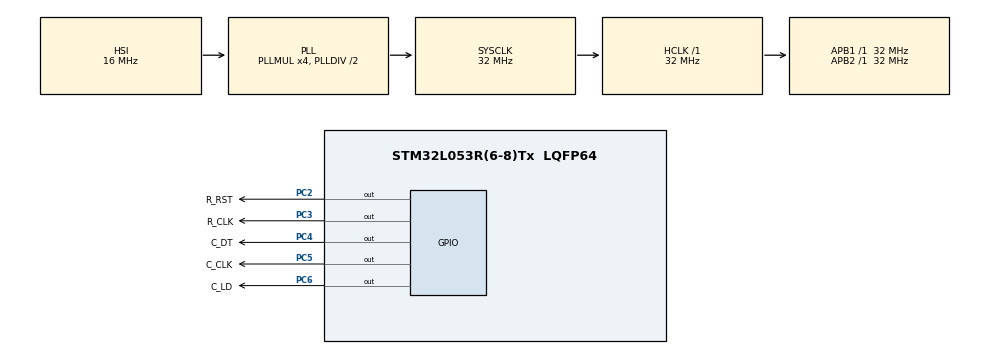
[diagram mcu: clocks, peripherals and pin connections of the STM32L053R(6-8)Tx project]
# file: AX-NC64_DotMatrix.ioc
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Mcu.Family=STM32L0
Mcu.Name=STM32L053R(6-8)Tx
Mcu.Package=LQFP64
NVIC.TIM2_IRQn=true\:0\:0\:false\:false\:true\:true\:true
PC2.GPIO_Label=R_RST
PC2.Signal=GPIO_Output
PC3.GPIO_Label=R_CLK
PC3.Signal=GPIO_Output
PC4.GPIO_Label=C_DT
PC4.Signal=GPIO_Output
PC5.GPIO_Label=C_CLK
PC5.Signal=GPIO_Output
PC6.GPIO_Label=C_LD
PC6.Signal=GPIO_Output
ProjectManager.HeapSize=0x200
ProjectManager.StackSize=0x400
ProjectManager.TargetToolchain=MDK-ARM V5
RCC.AHBFreq_Value=32000000
RCC.APB1Freq_Value=32000000
RCC.APB1TimFreq_Value=32000000
RCC.APB2Freq_Value=32000000
RCC.APB2TimFreq_Value=32000000
RCC.HCLKFreq_Value=32000000
RCC.HSE_VALUE=8000000
RCC.HSI16_VALUE=16000000
RCC.HSI48_VALUE=48000000
RCC.HSI_VALUE=16000000
RCC.LSE_VALUE=32768
RCC.MSI_VALUE=2097000
RCC.PLLMUL=RCC_PLLMUL_4
RCC.SYSCLKFreq_VALUE=32000000
RCC.SYSCLKSource=RCC_SYSCLKSOURCE_PLLCLK
RCC.VCOOutputFreq_Value=64000000
TIM2.Channel-Output\ Compare1\ No\ Output=TIM_CHANNEL_1
TIM2.Period=1000
TIM2.Prescaler=32
VP_TIM2_VS_no_output1.Mode=Output Compare1 No Output
board=custom

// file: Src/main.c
/* USER CODE BEGIN Header */
/**
  ******************************************************************************
  * @file           : main.c
  * @brief          : Main program body
  ******************************************************************************
  * @attention
  *
  * <h2><center>&copy; Copyright (c) 2019 STMicroelectronics.
  * All rights reserved.</center></h2>
  *
  * This software component is licensed by ST under BSD 3-Clause license,
  * the "License"; You may not use this file except in compliance with the
  * License. You may obtain a copy of the License at:
  *                        opensource.org/licenses/BSD-3-Clause
  *
  ******************************************************************************
  */
/* USER CODE END Header */

#include "main.h"

/* USER CODE BEGIN Includes */
#include <stdio.h>
#include <string.h>
/* USER CODE END Includes */

/* USER CODE BEGIN PM */
// Internal Macros
#define HEX__(n) 0x##n##LU
#define B8__(x) ((x&0x0000000FLU)?1:0) \
+((x&0x000000F0LU)?2:0) \
+((x&0x00000F00LU)?4:0) \
+((x&0x0000F000LU)?8:0) \
+((x&0x000F0000LU)?16:0) \
+((x&0x00F00000LU)?32:0) \
+((x&0x0F000000LU)?64:0) \
+((x&0xF0000000LU)?128:0)

// User-visible Macros
#define B8(d) ((unsigned char)B8__(HEX__(d)))
#define B16(dmsb,dlsb) (((unsigned short)B8(dmsb)<<8) + B8(dlsb))
#define B32(dmsb,db2,db3,dlsb) \
(((unsigned long)B8(dmsb)<<24) \
+ ((unsigned long)B8(db2)<<16) \
+ ((unsigned long)B8(db3)<<8) \
+ B8(dlsb))
/* USER CODE END PM */

TIM_HandleTypeDef htim2;

void SystemClock_Config(void);
static void MX_GPIO_Init(void);
static void MX_TIM2_Init(void);
/* USER CODE BEGIN PFP */
uint8_t font_6_8[] = {
	0x00, 0x00, 0x00, 0x00, 0x00, 0x00,  // 0x00
	0x00, 0x7c, 0xa2, 0x8a, 0xa2, 0x7c,  // 0x01
	0x00, 0x7c, 0xd6, 0xf6, 0xd6, 0x7c,  // 0x02
	0x00, 0x38, 0x7c, 0x3e, 0x7c, 0x38,  // 0x03
	0x00, 0x18, 0x3c, 0x7e, 0x3c, 0x18,  // 0x04
	0x00, 0x0c, 0x6c, 0xfe, 0x6c, 0x0c,  // 0x05
	0x00, 0x18, 0x3a, 0x7e, 0x3a, 0x18,  // 0x06
	0x00, 0x00, 0x00, 0x00, 0x00, 0x00,  // 0x07
	0x00, 0x00, 0x00, 0x00, 0x00, 0x00,  // 0x08
	0x00, 0x00, 0x00, 0x00, 0x00, 0x00,  // 0x09
	0x00, 0x00, 0x00, 0x00, 0x00, 0x00,  // 0x0a
	0x00, 0x0c, 0x12, 0x52, 0x6c, 0x70,  // 0x0b
	0x00, 0x60, 0x94, 0x9e, 0x94, 0x60,  // 0x0c
	0x00, 0x00, 0x00, 0x00, 0x00, 0x00,  // 0x0d
	0x00, 0x06, 0x7e, 0x50, 0xac, 0xfc,  // 0x0e
	0x00, 0x54, 0x38, 0x6c, 0x38, 0x54,  // 0x0f
	0x00, 0x00, 0xfe, 0x7c, 0x38, 0x10,  // 0x10
	0x00, 0x10, 0x38, 0x7c, 0xfe, 0x00,  // 0x11
	0x00, 0x28, 0x6c, 0xfe, 0x6c, 0x28,  // 0x12
	0x00, 0x00, 0xfa, 0x00, 0xfa, 0x00,  // 0x13
	0x00, 0x60, 0x90, 0xfe, 0x80, 0xfe,  // 0x14
	0x00, 0x44, 0xb2, 0xaa, 0x9a, 0x44,  // 0x15
	0x00, 0x06, 0x06, 0x06, 0x06, 0x00,  // 0x16
	0x00, 0x28, 0x6d, 0xff, 0x6d, 0x28,  // 0x17
	0x00, 0x20, 0x60, 0xfe, 0x60, 0x20,  // 0x18
	0x00, 0x08, 0x0c, 0xfe, 0x0c, 0x08,  // 0x19
	0x00, 0x10, 0x10, 0x7c, 0x38, 0x10,  // 0x1a
	0x00, 0x10, 0x38, 0x7c, 0x10, 0x10,  // 0x1b
	0x00, 0x1e, 0x02, 0x02, 0x02, 0x02,  // 0x1c
	0x00, 0x10, 0x7c, 0x10, 0x7c, 0x10,  // 0x1d
	0x00, 0x0c, 0x3c, 0xfc, 0x3c, 0x0c,  // 0x1e
	0x00, 0xc0, 0xf0, 0xfc, 0xf0, 0xc0,  // 0x1f
	0x00, 0x00, 0x00, 0x00, 0x00, 0x00,  // 0x20
	0x00, 0x00, 0x60, 0xfa, 0x60, 0x00,  // 0x21
	0x00, 0xe0, 0xc0, 0x00, 0xe0, 0xc0,  // 0x22
	0x00, 0x24, 0x7e, 0x24, 0x7e, 0x24,  // 0x23
	0x00, 0x24, 0xd4, 0x56, 0x48, 0x00,  // 0x24
	0x00, 0xc6, 0xc8, 0x10, 0x26, 0xc6,  // 0x25
	0x00, 0x6c, 0x92, 0x6a, 0x04, 0x0a,  // 0x26
	0x00, 0x00, 0xe0, 0xc0, 0x00, 0x00,  // 0x27
	0x00, 0x00, 0x7c, 0x82, 0x00, 0x00,  // 0x28
	0x00, 0x00, 0x82, 0x7c, 0x00, 0x00,  // 0x29
	0x00, 0x10, 0x7c, 0x38, 0x7c, 0x10,  // 0x2a
	0x00, 0x10, 0x10, 0x7c, 0x10, 0x10,  // 0x2b
	0x00, 0x00, 0x07, 0x06, 0x00, 0x00,  // 0x2c
	0x00, 0x10, 0x10, 0x10, 0x10, 0x10,  // 0x2d
	0x00, 0x00, 0x06, 0x06, 0x00, 0x00,  // 0x2e
	0x00, 0x04, 0x08, 0x10, 0x20, 0x40,  // 0x2f
	0x00, 0x7c, 0x8a, 0x92, 0xa2, 0x7c,  // 0x30
	0x00, 0x00, 0x42, 0xfe, 0x02, 0x00,  // 0x31
	0x00, 0x46, 0x8a, 0x92, 0x92, 0x62,  // 0x32
	0x00, 0x44, 0x92, 0x92, 0x92, 0x6c,  // 0x33
	0x00, 0x18, 0x28, 0x48, 0xfe, 0x08,  // 0x34
	0x00, 0xf4, 0x92, 0x92, 0x92, 0x8c,  // 0x35
	0x00, 0x3c, 0x52, 0x92, 0x92, 0x0c,  // 0x36
	0x00, 0x80, 0x8e, 0x90, 0xa0, 0xc0,  // 0x37
	0x00, 0x6c, 0x92, 0x92, 0x92, 0x6c,  // 0x38
	0x00, 0x60, 0x92, 0x92, 0x94, 0x78,  // 0x39
	0x00, 0x00, 0x36, 0x36, 0x00, 0x00,  // 0x3a
	0x00, 0x00, 0x37, 0x36, 0x00, 0x00,  // 0x3b
	0x00, 0x10, 0x28, 0x44, 0x82, 0x00,  // 0x3c
	0x00, 0x24, 0x24, 0x24, 0x24, 0x24,  // 0x3d
	0x00, 0x00, 0x82, 0x44, 0x28, 0x10,  // 0x3e
	0x00, 0x40, 0x80, 0x9a, 0x90, 0x60,  // 0x3f
	0x00, 0x7c, 0x82, 0xba, 0xaa, 0x78,  // 0x40
	0x00, 0x7e, 0x88, 0x88, 0x88, 0x7e,  // 0x41
	0x00, 0xfe, 0x92, 0x92, 0x92, 0x6c,  // 0x42
	0x00, 0x7c, 0x82, 0x82, 0x82, 0x44,  // 0x43
	0x00, 0xfe, 0x82, 0x82, 0x82, 0x7c,  // 0x44
	0x00, 0xfe, 0x92, 0x92, 0x92, 0x82,  // 0x45
	0x00, 0xfe, 0x90, 0x90, 0x90, 0x80,  // 0x46
	0x00, 0x7c, 0x82, 0x92, 0x92, 0x5e,  // 0x47
	0x00, 0xfe, 0x10, 0x10, 0x10, 0xfe,  // 0x48
	0x00, 0x00, 0x82, 0xfe, 0x82, 0x00,  // 0x49
	0x00, 0x0c, 0x02, 0x02, 0x02, 0xfc,  // 0x4a
	0x00, 0xfe, 0x10, 0x28, 0x44, 0x82,  // 0x4b
	0x00, 0xfe, 0x02, 0x02, 0x02, 0x02,  // 0x4c
	0x00, 0xfe, 0x40, 0x20, 0x40, 0xfe,  // 0x4d
	0x00, 0xfe, 0x40, 0x20, 0x10, 0xfe,  // 0x4e
	0x00, 0x7c, 0x82, 0x82, 0x82, 0x7c,  // 0x4f
	0x00, 0xfe, 0x90, 0x90, 0x90, 0x60,  // 0x50
	0x00, 0x7c, 0x82, 0x8a, 0x84, 0x7a,  // 0x51
	0x00, 0xfe, 0x90, 0x90, 0x98, 0x66,  // 0x52
	0x00, 0x64, 0x92, 0x92, 0x92, 0x4c,  // 0x53
	0x00, 0x80, 0x80, 0xfe, 0x80, 0x80,  // 0x54
	0x00, 0xfc, 0x02, 0x02, 0x02, 0xfc,  // 0x55
	0x00, 0xf8, 0x04, 0x02, 0x04, 0xf8,  // 0x56
	0x00, 0xfc, 0x02, 0x3c, 0x02, 0xfc,  // 0x57
	0x00, 0xc6, 0x28, 0x10, 0x28, 0xc6,  // 0x58
	0x00, 0xe0, 0x10, 0x0e, 0x10, 0xe0,  // 0x59
	0x00, 0x8e, 0x92, 0xa2, 0xc2, 0x00,  // 0x5a
	0x00, 0x00, 0xfe, 0x82, 0x82, 0x00,  // 0x5b
	0x00, 0x40, 0x20, 0x10, 0x08, 0x04,  // 0x5c
	0x00, 0x00, 0x82, 0x82, 0xfe, 0x00,  // 0x5d
	0x00, 0x20, 0x40, 0x80, 0x40, 0x20,  // 0x5e
	0x01, 0x01, 0x01, 0x01, 0x01, 0x01,  // 0x5f
	0x00, 0x00, 0xc0, 0xe0, 0x00, 0x00,  // 0x60
	0x00, 0x04, 0x2a, 0x2a, 0x2a, 0x1e,  // 0x61
	0x00, 0xfe, 0x22, 0x22, 0x22, 0x1c,  // 0x62
	0x00, 0x1c, 0x22, 0x22, 0x22, 0x04,  // 0x63 'c' = 0x00, 0x1c, 0x22, 0x22, 0x22, 0x14
	0x00, 0x1c, 0x22, 0x22, 0x22, 0xfe,  // 0x64
	0x00, 0x1c, 0x2a, 0x2a, 0x2a, 0x10,  // 0x65
	0x00, 0x10, 0x7e, 0x90, 0x90, 0x00,  // 0x66
	0x00, 0x18, 0x25, 0x25, 0x25, 0x3e,  // 0x67
	0x00, 0xfe, 0x20, 0x20, 0x1e, 0x00,  // 0x68
	0x00, 0x00, 0x00, 0x5e, 0x02, 0x00,  // 0x69 'i' = 0x00, 0x00, 0x00, 0xbe, 0x02, 0x00
	0x00, 0x02, 0x01, 0x21, 0xbe, 0x00,  // 0x6a
	0x00, 0xfe, 0x08, 0x14, 0x22, 0x00,  // 0x6b
	0x00, 0x00, 0x00, 0xfe, 0x02, 0x00,  // 0x6c
	0x00, 0x3e, 0x20, 0x18, 0x20, 0x1e,  // 0x6d
	0x00, 0x3e, 0x20, 0x20, 0x1e, 0x00,  // 0x6e
	0x00, 0x1c, 0x22, 0x22, 0x22, 0x1c,  // 0x6f
	0x00, 0x3f, 0x22, 0x22, 0x22, 0x1c,  // 0x70
	0x00, 0x1c, 0x22, 0x22, 0x22, 0x3f,  // 0x71
	0x00, 0x22, 0x1e, 0x22, 0x20, 0x10,  // 0x72
	0x00, 0x10, 0x2a, 0x2a, 0x2a, 0x04,  // 0x73
	0x00, 0x20, 0x7c, 0x22, 0x24, 0x00,  // 0x74
	0x00, 0x3c, 0x02, 0x04, 0x3e, 0x00,  // 0x75
	0x00, 0x38, 0x04, 0x02, 0x04, 0x38,  // 0x76
	0x00, 0x3c, 0x06, 0x0c, 0x06, 0x3c,  // 0x77
	0x00, 0x36, 0x08, 0x08, 0x36, 0x00,  // 0x78
	0x00, 0x39, 0x05, 0x06, 0x3c, 0x00,  // 0x79
	0x00, 0x26, 0x2a, 0x2a, 0x32, 0x00,  // 0x7a
	0x00, 0x10, 0x7c, 0x82, 0x82, 0x00,  // 0x7b
	0x00, 0x00, 0x00, 0xee, 0x00, 0x00,  // 0x7c
	0x00, 0x00, 0x82, 0x82, 0x7c, 0x10,  // 0x7d
	0x00, 0x40, 0x80, 0x40, 0x80, 0x00,  // 0x7e
	0x00, 0x3c, 0x64, 0xc4, 0x64, 0x3c,  // 0x7f
	0x00, 0x78, 0x85, 0x87, 0x84, 0x48,  // 0x80
	0x00, 0xbc, 0x02, 0x04, 0xbe, 0x00,  // 0x81
	0x00, 0x1c, 0x2a, 0x2a, 0xaa, 0x90,  // 0x82
	0x00, 0x04, 0xaa, 0xaa, 0xaa, 0x1e,  // 0x83
	0x00, 0x04, 0xaa, 0x2a, 0xaa, 0x1e,  // 0x84
	0x00, 0x04, 0xaa, 0xaa, 0x2a, 0x1e,  // 0x85
	0x00, 0x04, 0xea, 0xaa, 0xea, 0x1e,  // 0x86
	0x00, 0x38, 0x45, 0x47, 0x44, 0x28,  // 0x87
	0x00, 0x1c, 0xaa, 0xaa, 0xaa, 0x10,  // 0x88
	0x00, 0x1c, 0xaa, 0x2a, 0xaa, 0x10,  // 0x89
	0x00, 0x1c, 0xaa, 0xaa, 0x2a, 0x10,  // 0x8a
	0x00, 0x00, 0x80, 0x3e, 0x82, 0x00,  // 0x8b
	0x00, 0x00, 0x80, 0xbe, 0x82, 0x00,  // 0x8c
	0x00, 0x00, 0x80, 0x3e, 0x02, 0x00,  // 0x8d
	0x00, 0x0e, 0x94, 0x24, 0x94, 0x0e,  // 0x8e
	0x00, 0x1e, 0xf4, 0xa4, 0xf4, 0x1e,  // 0x8f
	0x00, 0x3e, 0x2a, 0x2a, 0xaa, 0xa2,  // 0x90
	0x00, 0x2c, 0x2a, 0x3e, 0x2a, 0x1a,  // 0x91
	0x00, 0x7e, 0x90, 0xfe, 0x92, 0x92,  // 0x92
	0x00, 0x1c, 0xa2, 0xa2, 0x9c, 0x00,  // 0x93
	0x00, 0x1c, 0xa2, 0x22, 0x9c, 0x00,  // 0x94
	0x00, 0x9c, 0xa2, 0x22, 0x1c, 0x00,  // 0x95
	0x00, 0x3c, 0x82, 0x84, 0xbe, 0x00,  // 0x96
	0x00, 0xbc, 0x82, 0x04, 0x3e, 0x00,  // 0x97
	0x00, 0x39, 0x85, 0x06, 0xbc, 0x00,  // 0x98
	0x00, 0xbc, 0x42, 0x42, 0xbc, 0x00,  // 0x99
	0x00, 0x3c, 0x82, 0x02, 0xbc, 0x00,  // 0x9a
	0x01, 0x0e, 0x16, 0x1a, 0x1c, 0x20,  // 0x9b
	0x00, 0x12, 0x7c, 0x92, 0x92, 0x46,  // 0x9c
	0x00, 0x7e, 0x86, 0xba, 0xc2, 0xfc,  // 0x9d
	0x00, 0x44, 0x28, 0x10, 0x28, 0x44,  // 0x9e
	0x00, 0x02, 0x11, 0x7e, 0x90, 0x40,  // 0x9f
	0x00, 0x04, 0x2a, 0xaa, 0xaa, 0x1e,  // 0xa0
	0x00, 0x00, 0x00, 0xbe, 0x82, 0x00,  // 0xa1
	0x00, 0x1c, 0x22, 0xa2, 0x9c, 0x00,  // 0xa2
	0x00, 0x3c, 0x02, 0x84, 0xbe, 0x00,  // 0xa3
	0x00, 0x5e, 0x90, 0x50, 0x8e, 0x00,  // 0xa4
	0x00, 0x5e, 0x88, 0x44, 0x9e, 0x00,  // 0xa5
	0x00, 0x10, 0xaa, 0xaa, 0xaa, 0x7a,  // 0xa6
	0x00, 0x72, 0x8a, 0x8a, 0x72, 0x00,  // 0xa7
	0x00, 0x0c, 0x12, 0xb2, 0x02, 0x04,  // 0xa8
	0x7c, 0x82, 0xba, 0xd2, 0xaa, 0x7c,  // 0xa9
	0x20, 0x20, 0x20, 0x20, 0x20, 0x38,  // 0xaa
	0x00, 0xe8, 0x10, 0x32, 0x56, 0x0a,  // 0xab
	0x00, 0xe8, 0x10, 0x2c, 0x54, 0x1e,  // 0xac
	0x00, 0x00, 0x0c, 0xbe, 0x0c, 0x00,  // 0xad
	0x00, 0x10, 0x28, 0x00, 0x10, 0x28,  // 0xae
	0x00, 0x28, 0x10, 0x00, 0x28, 0x10,  // 0xaf
	0x22, 0x88, 0x22, 0x88, 0x22, 0x88,  // 0xb0
	0x55, 0xaa, 0x55, 0xaa, 0x55, 0xaa,  // 0xb1
	0xdd, 0x77, 0xdd, 0x77, 0xdd, 0x77,  // 0xb2
	0x00, 0x00, 0x00, 0xff, 0x00, 0x00,  // 0xb3
	0x10, 0x10, 0x10, 0xff, 0x00, 0x00,  // 0xb4
	0x00, 0x0e, 0x14, 0xa4, 0x94, 0x0e,  // 0xb5
	0x00, 0x0e, 0x94, 0xa4, 0x94, 0x0e,  // 0xb6
	0x00, 0x0e, 0x94, 0xa4, 0x14, 0x0e,  // 0xb7
	0x7c, 0x82, 0xba, 0xaa, 0x82, 0x7c,  // 0xb8
	0x50, 0xdf, 0x00, 0xff, 0x00, 0x00,  // 0xb9
	0x00, 0xff, 0x00, 0xff, 0x00, 0x00,  // 0xba
	0x50, 0x5f, 0x40, 0x7f, 0x00, 0x00,  // 0xbb
	0x50, 0xd0, 0x10, 0xf0, 0x00, 0x00,  // 0xbc
	0x00, 0x18, 0x24, 0x66, 0x24, 0x00,  // 0xbd
	0x00, 0x94, 0x54, 0x3e, 0x54, 0x94,  // 0xbe
	0x10, 0x10, 0x10, 0x1f, 0x00, 0x00,  // 0xbf
	0x00, 0x00, 0x00, 0xf0, 0x10, 0x10,  // 0xc0
	0x10, 0x10, 0x10, 0xf0, 0x10, 0x10,  // 0xc1
	0x10, 0x10, 0x10, 0x1f, 0x10, 0x10,  // 0xc2
	0x00, 0x00, 0x00, 0xff, 0x10, 0x10,  // 0xc3
	0x10, 0x10, 0x10, 0x10, 0x10, 0x10,  // 0xc4
	0x10, 0x10, 0x10, 0xff, 0x10, 0x10,  // 0xc5
	0x00, 0x04, 0x6a, 0xaa, 0x6a, 0x9e,  // 0xc6
	0x00, 0x0e, 0x54, 0xa4, 0x54, 0x8e,  // 0xc7
	0x00, 0xf0, 0x10, 0xd0, 0x50, 0x50,  // 0xc8
	0x00, 0x7f, 0x40, 0x5f, 0x50, 0x50,  // 0xc9
	0x50, 0xd0, 0x10, 0xd0, 0x50, 0x50,  // 0xca
	0x50, 0x5f, 0x40, 0x5f, 0x50, 0x50,  // 0xcb
	0x00, 0xff, 0x00, 0xdf, 0x50, 0x50,  // 0xcc
	0x50, 0x50, 0x50, 0x50, 0x50, 0x50,  // 0xcd
	0x50, 0xdf, 0x00, 0xdf, 0x50, 0x50,  // 0xce
	0x00, 0xba, 0x44, 0x44, 0x44, 0xba,  // 0xcf
	0x00, 0x44, 0xaa, 0x9a, 0x0c, 0x00,  // 0xd0
	0x00, 0x10, 0xfe, 0x92, 0x82, 0x7c,  // 0xd1
	0x00, 0x3e, 0xaa, 0xaa, 0xaa, 0x22,  // 0xd2
	0x00, 0x3e, 0xaa, 0x2a, 0xaa, 0x22,  // 0xd3
	0x00, 0x3e, 0xaa, 0xaa, 0x2a, 0x22,  // 0xd4
	0x00, 0x00, 0x00, 0xe0, 0x00, 0x00,  // 0xd5
	0x00, 0x00, 0x22, 0xbe, 0xa2, 0x00,  // 0xd6
	0x00, 0x00, 0xa2, 0xbe, 0xa2, 0x00,  // 0xd7
	0x00, 0x00, 0xa2, 0x3e, 0xa2, 0x00,  // 0xd8
	0x10, 0x10, 0x10, 0xf0, 0x00, 0x00,  // 0xd9
	0x00, 0x00, 0x00, 0x1f, 0x10, 0x10,  // 0xda
	0xff, 0xff, 0xff, 0xff, 0xff, 0xff,  // 0xdb
	0x0f, 0x0f, 0x0f, 0x0f, 0x0f, 0x0f,  // 0xdc
	0x00, 0x00, 0x00, 0xee, 0x00, 0x00,  // 0xdd
	0x00, 0x00, 0xa2, 0xbe, 0x22, 0x00,  // 0xde
	0xf0, 0xf0, 0xf0, 0xf0, 0xf0, 0xf0,  // 0xdf
	0x00, 0x3c, 0x42, 0xc2, 0xbc, 0x00,  // 0xe0
	0x00, 0x7f, 0x52, 0x52, 0x2c, 0x00,  // 0xe1
	0x00, 0x3c, 0xc2, 0xc2, 0xbc, 0x00,  // 0xe2
	0x00, 0xbc, 0xc2, 0x42, 0x3c, 0x00,  // 0xe3
	0x00, 0x4c, 0x92, 0x52, 0x8c, 0x00,  // 0xe4
	0x00, 0x5c, 0xa2, 0x62, 0x9c, 0x00,  // 0xe5
	0x00, 0x3f, 0x04, 0x04, 0x38, 0x00,  // 0xe6
	0x00, 0x7f, 0x55, 0x14, 0x08, 0x00,  // 0xe7
	0x00, 0xff, 0xa5, 0x24, 0x18, 0x00,  // 0xe8
	0x00, 0x3c, 0x02, 0x82, 0xbc, 0x00,  // 0xe9
	0x00, 0x3c, 0x82, 0x82, 0xbc, 0x00,  // 0xea
	0x00, 0xbc, 0x82, 0x02, 0x3c, 0x00,  // 0xeb
	0x00, 0x39, 0x05, 0x86, 0xbc, 0x00,  // 0xec
	0x00, 0x20, 0x10, 0x8e, 0x90, 0x20,  // 0xed
	0x00, 0x00, 0x40, 0x40, 0x40, 0x00,  // 0xee
	0x00, 0x00, 0xe0, 0xc0, 0x00, 0x00,  // 0xef
	0x00, 0x00, 0x10, 0x10, 0x10, 0x00,  // 0xf0
	0x00, 0x00, 0x24, 0x74, 0x24, 0x00,  // 0xf1
	0x00, 0x24, 0x24, 0x24, 0x24, 0x24,  // 0xf2
	0xa0, 0xe8, 0x50, 0x2c, 0x54, 0x1e,  // 0xf3
	0x00, 0x60, 0x90, 0xfe, 0x80, 0xfe,  // 0xf4
	0x00, 0x44, 0xb2, 0xaa, 0x9a, 0x44,  // 0xf5
	0x00, 0x10, 0x10, 0x54, 0x10, 0x10,  // 0xf6
	0x00, 0x00, 0x10, 0x18, 0x18, 0x00,  // 0xf7
	0x00, 0x60, 0x90, 0x90, 0x60, 0x00,  // 0xf8
	0x00, 0x00, 0x10, 0x00, 0x10, 0x00,  // 0xf9
	0x00, 0x00, 0x10, 0x00, 0x00, 0x00,  // 0xfa
	0x00, 0x40, 0xf0, 0x00, 0x00, 0x00,  // 0xfb
	0x00, 0x90, 0xf0, 0xa0, 0x00, 0x00,  // 0xfc
	0x00, 0x90, 0xb0, 0x50, 0x00, 0x00,  // 0xfd
	0x00, 0x3c, 0x3c, 0x3c, 0x3c, 0x00,  // 0xfe
	0x00, 0x00, 0x00, 0x00, 0x00, 0x00  // 0xff
};

uint8_t font_A[] = {
	0x3c, 0x42, 0x42, 0x42, 0x7e, 0x42, 0x42, 0x00
};

/* USER CODE END PFP */

/* USER CODE BEGIN 0 */
void shiftOut(uint8_t data) {
	HAL_GPIO_WritePin(C_LD_GPIO_Port, C_LD_Pin, 0); // Set CS to LOW
  for (int ibit=7;ibit>=0;ibit--) {
    HAL_GPIO_WritePin(C_DT_GPIO_Port, C_DT_Pin, (data>>ibit)&0x01);

		HAL_GPIO_WritePin(C_CLK_GPIO_Port, C_CLK_Pin, 1);
		HAL_GPIO_WritePin(C_CLK_GPIO_Port, C_CLK_Pin, 0);
  }
  HAL_GPIO_WritePin(C_LD_GPIO_Port, C_LD_Pin, 1); // Set CS to HIGH
}

void resetCounter() {
	HAL_GPIO_WritePin(R_RST_GPIO_Port, R_RST_Pin, 1);
	HAL_GPIO_WritePin(R_RST_GPIO_Port, R_RST_Pin, 0);
}

void tickClock() {
	HAL_GPIO_WritePin(R_CLK_GPIO_Port, R_CLK_Pin, 1);
	HAL_GPIO_WritePin(R_CLK_GPIO_Port, R_CLK_Pin, 0);
}

void scan_dotmatrix(uint8_t *data) {
  for (int i=0;i<8;i++) {
    shiftOut(~data[i]);
    tickClock();
    HAL_Delay(1);
  }
  resetCounter();
}

uint8_t scan_bit = 0;
void scan_dotmatrix2(uint8_t *data) {
  if (scan_bit == 0) {
    resetCounter();
  }
  shiftOut(~data[scan_bit]);
  tickClock();
  scan_bit = scan_bit < 8 ? scan_bit + 1 : 0;
}

void rotate(uint8_t *oldBuff, uint8_t *newBuff) {
  memset(newBuff, 0, 8);
  for(uint8_t a=0;a<8;a++) {
    for(uint8_t i=0;i<8;i++) {
      newBuff[a] |= (oldBuff[i]&(0x80>>a)) ? (1<<i) : 0;
    }
  }
}

uint8_t frame_buffer[8] = { 0, 0, 0, 0, 0, 0, 0, 0 };
void rotateToBuffer(uint8_t *c) {
  uint8_t newBuff[8];
  rotate(c, newBuff);
  memcpy(frame_buffer, newBuff, 8);
}

uint8_t buffText[(30 * 6) + (8 * 2)]; // Max 30 chars, 2 space for start and end
void showText(char *text) {
  uint8_t inx = 8;
  for(uint8_t cInx=0;cInx<strlen(text);cInx++) {
    for(uint8_t i=0;i<6;i++) {
      buffText[inx++] = font_6_8[(text[cInx] * 6) + i];
    }
  }

  for(uint8_t start=0;start<((strlen(text) * 6) + (8));start++) {
    uint8_t buff[8];
    memcpy(buff, &buffText[start], 8);
    rotateToBuffer(buff);
    HAL_Delay(100);
  }
}

void showChar(char c) {
  uint8_t buff[8];
  memset(buff, 0, 8);
  memcpy(&buff[2], &font_6_8[c * 6], 6);
  rotateToBuffer(buff);
}

void HAL_TIM_PeriodElapsedCallback(TIM_HandleTypeDef *htim) {
  scan_dotmatrix2(frame_buffer);
}

/* USER CODE END 0 */

int main(void)
{

  /* MCU Configuration--------------------------------------------------------*/

  /* Reset of all peripherals, Initializes the Flash interface and the Systick. */
  HAL_Init();

  /* Configure the system clock */
  SystemClock_Config();

  /* Initialize all configured peripherals */
  MX_GPIO_Init();
  MX_TIM2_Init();
  /* USER CODE BEGIN 2 */

	// Setup 74HC595
	HAL_GPIO_WritePin(C_LD_GPIO_Port, C_LD_Pin, 1); // Set CS to HIGH
	HAL_GPIO_WritePin(C_DT_GPIO_Port, C_DT_Pin, 0);
	HAL_GPIO_WritePin(C_CLK_GPIO_Port, C_CLK_Pin, 0);

	// Setup 4017
	HAL_GPIO_WritePin(R_RST_GPIO_Port, R_RST_Pin, 0);
	HAL_GPIO_WritePin(R_CLK_GPIO_Port, R_CLK_Pin, 0);

	resetCounter();
	shiftOut(0xFF); // trun off all

  HAL_TIM_Base_Start_IT(&htim2);

  /* USER CODE END 2 */

  /* Infinite loop */
  /* USER CODE BEGIN WHILE */
  while (1)
  {
    showText("E-TECH");
    /* USER CODE END WHILE */

  }
}

void SystemClock_Config(void)
{
  RCC_OscInitTypeDef RCC_OscInitStruct = {0};
  RCC_ClkInitTypeDef RCC_ClkInitStruct = {0};

  /** Configure the main internal regulator output voltage
  */
  __HAL_PWR_VOLTAGESCALING_CONFIG(PWR_REGULATOR_VOLTAGE_SCALE1);
  /** Initializes the CPU, AHB and APB busses clocks
  */
  RCC_OscInitStruct.OscillatorType = RCC_OSCILLATORTYPE_HSI;
  RCC_OscInitStruct.HSIState = RCC_HSI_ON;
  RCC_OscInitStruct.HSICalibrationValue = RCC_HSICALIBRATION_DEFAULT;
  RCC_OscInitStruct.PLL.PLLState = RCC_PLL_ON;
  RCC_OscInitStruct.PLL.PLLSource = RCC_PLLSOURCE_HSI;
  RCC_OscInitStruct.PLL.PLLMUL = RCC_PLLMUL_4;
  RCC_OscInitStruct.PLL.PLLDIV = RCC_PLLDIV_2;
  if (HAL_RCC_OscConfig(&RCC_OscInitStruct) != HAL_OK)
  {
    Error_Handler();
  }
  /** Initializes the CPU, AHB and APB busses clocks
  */
  RCC_ClkInitStruct.ClockType = RCC_CLOCKTYPE_HCLK|RCC_CLOCKTYPE_SYSCLK
                              |RCC_CLOCKTYPE_PCLK1|RCC_CLOCKTYPE_PCLK2;
  RCC_ClkInitStruct.SYSCLKSource = RCC_SYSCLKSOURCE_PLLCLK;
  RCC_ClkInitStruct.AHBCLKDivider = RCC_SYSCLK_DIV1;
  RCC_ClkInitStruct.APB1CLKDivider = RCC_HCLK_DIV1;
  RCC_ClkInitStruct.APB2CLKDivider = RCC_HCLK_DIV1;

  if (HAL_RCC_ClockConfig(&RCC_ClkInitStruct, FLASH_LATENCY_1) != HAL_OK)
  {
    Error_Handler();
  }
}

static void MX_TIM2_Init(void)
{

  TIM_MasterConfigTypeDef sMasterConfig = {0};
  TIM_OC_InitTypeDef sConfigOC = {0};

  htim2.Instance = TIM2;
  htim2.Init.Prescaler = 32;
  htim2.Init.CounterMode = TIM_COUNTERMODE_UP;
  htim2.Init.Period = 1000;
  htim2.Init.ClockDivision = TIM_CLOCKDIVISION_DIV1;
  htim2.Init.AutoReloadPreload = TIM_AUTORELOAD_PRELOAD_DISABLE;
  if (HAL_TIM_OC_Init(&htim2) != HAL_OK)
  {
    Error_Handler();
  }
  sMasterConfig.MasterOutputTrigger = TIM_TRGO_RESET;
  sMasterConfig.MasterSlaveMode = TIM_MASTERSLAVEMODE_DISABLE;
  if (HAL_TIMEx_MasterConfigSynchronization(&htim2, &sMasterConfig) != HAL_OK)
  {
    Error_Handler();
  }
  sConfigOC.OCMode = TIM_OCMODE_TIMING;
  sConfigOC.Pulse = 0;
  sConfigOC.OCPolarity = TIM_OCPOLARITY_HIGH;
  sConfigOC.OCFastMode = TIM_OCFAST_DISABLE;
  if (HAL_TIM_OC_ConfigChannel(&htim2, &sConfigOC, TIM_CHANNEL_1) != HAL_OK)
  {
    Error_Handler();
  }

}

static void MX_GPIO_Init(void)
{
  GPIO_InitTypeDef GPIO_InitStruct = {0};

  /* GPIO Ports Clock Enable */
  __HAL_RCC_GPIOC_CLK_ENABLE();

  /*Configure GPIO pin Output Level */
  HAL_GPIO_WritePin(GPIOC, R_RST_Pin|R_CLK_Pin|C_DT_Pin|C_CLK_Pin
                          |C_LD_Pin, GPIO_PIN_RESET);

  /*Configure GPIO pins : R_RST_Pin R_CLK_Pin C_DT_Pin C_CLK_Pin
                           C_LD_Pin */
  GPIO_InitStruct.Pin = R_RST_Pin|R_CLK_Pin|C_DT_Pin|C_CLK_Pin
                          |C_LD_Pin;
  GPIO_InitStruct.Mode = GPIO_MODE_OUTPUT_PP;
  GPIO_InitStruct.Pull = GPIO_NOPULL;
  GPIO_InitStruct.Speed = GPIO_SPEED_FREQ_LOW;
  HAL_GPIO_Init(GPIOC, &GPIO_InitStruct);

}

void Error_Handler(void)
{
}

/************************ (C) COPYRIGHT STMicroelectronics *****END OF FILE****/
